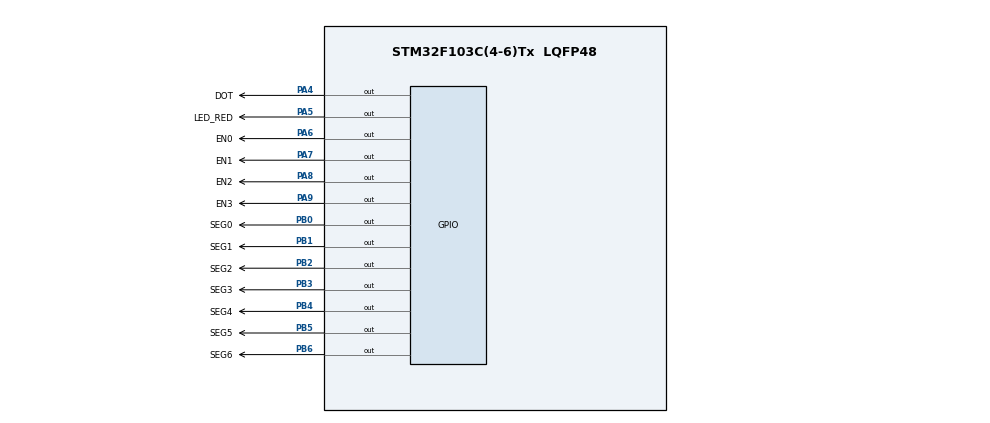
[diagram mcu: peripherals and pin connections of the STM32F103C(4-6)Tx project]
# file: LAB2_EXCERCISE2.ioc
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Mcu.Family=STM32F1
Mcu.Name=STM32F103C(4-6)Tx
Mcu.Package=LQFP48
NVIC.PriorityGroup=NVIC_PRIORITYGROUP_4
NVIC.TIM2_IRQn=true\:0\:0\:false\:false\:true\:true\:true
PA4.GPIO_Label=DOT
PA4.Signal=GPIO_Output
PA5.GPIO_Label=LED_RED
PA5.Signal=GPIO_Output
PA6.GPIO_Label=EN0
PA6.Signal=GPIO_Output
PA7.GPIO_Label=EN1
PA7.Signal=GPIO_Output
PA8.GPIO_Label=EN2
PA8.Signal=GPIO_Output
PA9.GPIO_Label=EN3
PA9.Signal=GPIO_Output
PB0.GPIO_Label=SEG0
PB0.Signal=GPIO_Output
PB1.GPIO_Label=SEG1
PB1.Signal=GPIO_Output
PB2.GPIO_Label=SEG2
PB2.Signal=GPIO_Output
PB3.GPIO_Label=SEG3
PB3.Signal=GPIO_Output
PB4.GPIO_Label=SEG4
PB4.Signal=GPIO_Output
PB5.GPIO_Label=SEG5
PB5.Signal=GPIO_Output
PB6.GPIO_Label=SEG6
PB6.Signal=GPIO_Output
ProjectManager.HeapSize=0x200
ProjectManager.StackSize=0x400
ProjectManager.TargetToolchain=STM32CubeIDE
RCC.APB1Freq_Value=8000000
RCC.APB2Freq_Value=8000000
TIM2.Period=9
TIM2.Prescaler=7999
VP_SYS_VS_ND.Mode=No_Debug
VP_TIM2_VS_ClockSourceINT.Mode=Internal
board=custom

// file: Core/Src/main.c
/* USER CODE BEGIN Header */
/**
  ******************************************************************************
  * @file           : main.c
  * @brief          : Main program body
  ******************************************************************************
  * @attention
  *
  * <h2><center>&copy; Copyright (c) 2025 STMicroelectronics.
  * All rights reserved.</center></h2>
  *
  * This software component is licensed by ST under BSD 3-Clause license,
  * the "License"; You may not use this file except in compliance with the
  * License. You may obtain a copy of the License at:
  *                        opensource.org/licenses/BSD-3-Clause
  *
  ******************************************************************************
  */
/* USER CODE END Header */
#include "main.h"

TIM_HandleTypeDef htim2;

void SystemClock_Config(void);
static void MX_GPIO_Init(void);
static void MX_TIM2_Init(void);

/* USER CODE BEGIN 0 */
void display7SEG(int num){
	char led7segm[10]={0xC0, 0xF9, 0xA4, 0xB0, 0x99, 0x92, 0x82, 0xF8, 0x80, 0x90};
	for(int i=0;i<7;i++){
		HAL_GPIO_WritePin(GPIOB, SEG0_Pin<<i,(led7segm[num]>>i)&1);
	}
}
/* USER CODE END 0 */

int main(void)
{

  /* MCU Configuration--------------------------------------------------------*/

  /* Reset of all peripherals, Initializes the Flash interface and the Systick. */
  HAL_Init();

  /* Configure the system clock */
  SystemClock_Config();

  /* Initialize all configured peripherals */
  MX_GPIO_Init();
  MX_TIM2_Init();
  /* USER CODE BEGIN 2 */
  HAL_TIM_Base_Start_IT(&htim2);
  /* USER CODE END 2 */

  /* Infinite loop */
  while (1)
  {

  }
}

void SystemClock_Config(void)
{
  RCC_OscInitTypeDef RCC_OscInitStruct = {0};
  RCC_ClkInitTypeDef RCC_ClkInitStruct = {0};

  /** Initializes the RCC Oscillators according to the specified parameters
  * in the RCC_OscInitTypeDef structure.
  */
  RCC_OscInitStruct.OscillatorType = RCC_OSCILLATORTYPE_HSI;
  RCC_OscInitStruct.HSIState = RCC_HSI_ON;
  RCC_OscInitStruct.HSICalibrationValue = RCC_HSICALIBRATION_DEFAULT;
  RCC_OscInitStruct.PLL.PLLState = RCC_PLL_NONE;
  if (HAL_RCC_OscConfig(&RCC_OscInitStruct) != HAL_OK)
  {
    Error_Handler();
  }
  /** Initializes the CPU, AHB and APB buses clocks
  */
  RCC_ClkInitStruct.ClockType = RCC_CLOCKTYPE_HCLK|RCC_CLOCKTYPE_SYSCLK
                              |RCC_CLOCKTYPE_PCLK1|RCC_CLOCKTYPE_PCLK2;
  RCC_ClkInitStruct.SYSCLKSource = RCC_SYSCLKSOURCE_HSI;
  RCC_ClkInitStruct.AHBCLKDivider = RCC_SYSCLK_DIV1;
  RCC_ClkInitStruct.APB1CLKDivider = RCC_HCLK_DIV1;
  RCC_ClkInitStruct.APB2CLKDivider = RCC_HCLK_DIV1;

  if (HAL_RCC_ClockConfig(&RCC_ClkInitStruct, FLASH_LATENCY_0) != HAL_OK)
  {
    Error_Handler();
  }
}

static void MX_TIM2_Init(void)
{

  TIM_ClockConfigTypeDef sClockSourceConfig = {0};
  TIM_MasterConfigTypeDef sMasterConfig = {0};

  htim2.Instance = TIM2;
  htim2.Init.Prescaler = 7999;
  htim2.Init.CounterMode = TIM_COUNTERMODE_UP;
  htim2.Init.Period = 9;
  htim2.Init.ClockDivision = TIM_CLOCKDIVISION_DIV1;
  htim2.Init.AutoReloadPreload = TIM_AUTORELOAD_PRELOAD_DISABLE;
  if (HAL_TIM_Base_Init(&htim2) != HAL_OK)
  {
    Error_Handler();
  }
  sClockSourceConfig.ClockSource = TIM_CLOCKSOURCE_INTERNAL;
  if (HAL_TIM_ConfigClockSource(&htim2, &sClockSourceConfig) != HAL_OK)
  {
    Error_Handler();
  }
  sMasterConfig.MasterOutputTrigger = TIM_TRGO_RESET;
  sMasterConfig.MasterSlaveMode = TIM_MASTERSLAVEMODE_DISABLE;
  if (HAL_TIMEx_MasterConfigSynchronization(&htim2, &sMasterConfig) != HAL_OK)
  {
    Error_Handler();
  }

}

static void MX_GPIO_Init(void)
{
  GPIO_InitTypeDef GPIO_InitStruct = {0};

  /* GPIO Ports Clock Enable */
  __HAL_RCC_GPIOA_CLK_ENABLE();
  __HAL_RCC_GPIOB_CLK_ENABLE();

  /*Configure GPIO pin Output Level */
  HAL_GPIO_WritePin(GPIOA, DOT_Pin|LED_RED_Pin|EN0_Pin|EN1_Pin
                          |EN2_Pin|EN3_Pin, GPIO_PIN_RESET);

  /*Configure GPIO pin Output Level */
  HAL_GPIO_WritePin(GPIOB, SEG0_Pin|SEG1_Pin|SEG2_Pin|SEG3_Pin
                          |SEG4_Pin|SEG5_Pin|SEG6_Pin, GPIO_PIN_RESET);

  /*Configure GPIO pins : DOT_Pin LED_RED_Pin EN0_Pin EN1_Pin
                           EN2_Pin EN3_Pin */
  GPIO_InitStruct.Pin = DOT_Pin|LED_RED_Pin|EN0_Pin|EN1_Pin
                          |EN2_Pin|EN3_Pin;
  GPIO_InitStruct.Mode = GPIO_MODE_OUTPUT_PP;
  GPIO_InitStruct.Pull = GPIO_NOPULL;
  GPIO_InitStruct.Speed = GPIO_SPEED_FREQ_LOW;
  HAL_GPIO_Init(GPIOA, &GPIO_InitStruct);

  /*Configure GPIO pins : SEG0_Pin SEG1_Pin SEG2_Pin SEG3_Pin
                           SEG4_Pin SEG5_Pin SEG6_Pin */
  GPIO_InitStruct.Pin = SEG0_Pin|SEG1_Pin|SEG2_Pin|SEG3_Pin
                          |SEG4_Pin|SEG5_Pin|SEG6_Pin;
  GPIO_InitStruct.Mode = GPIO_MODE_OUTPUT_PP;
  GPIO_InitStruct.Pull = GPIO_NOPULL;
  GPIO_InitStruct.Speed = GPIO_SPEED_FREQ_LOW;
  HAL_GPIO_Init(GPIOB, &GPIO_InitStruct);

}

/* USER CODE BEGIN 4 */
const unsigned int Default = 200;
int counter = Default;
int dot_counter = 0;
void HAL_TIM_PeriodElapsedCallback ( TIM_HandleTypeDef * htim )
{
	if (counter == Default){
		display7SEG(1);
		HAL_GPIO_WritePin(EN0_GPIO_Port, EN0_Pin, RESET);
		HAL_GPIO_WritePin(EN1_GPIO_Port, EN1_Pin, SET);
		HAL_GPIO_WritePin(EN2_GPIO_Port, EN2_Pin, SET);
		HAL_GPIO_WritePin(EN3_GPIO_Port, EN3_Pin, SET);
		HAL_GPIO_WritePin(DOT_GPIO_Port,DOT_Pin, RESET);
		HAL_GPIO_TogglePin(GPIOA, LED_RED_Pin);
	}else if (counter == (Default*3/4)){
		display7SEG(2);
		HAL_GPIO_WritePin(EN0_GPIO_Port, EN0_Pin, SET);
		HAL_GPIO_WritePin(EN1_GPIO_Port, EN1_Pin, RESET);
		HAL_GPIO_WritePin(EN2_GPIO_Port, EN2_Pin, SET);
		HAL_GPIO_WritePin(EN3_GPIO_Port, EN3_Pin, SET);
		HAL_GPIO_WritePin(DOT_GPIO_Port,DOT_Pin, SET);
		HAL_GPIO_TogglePin(GPIOA, LED_RED_Pin);
	}else if (counter == (Default*2/4)){
		display7SEG(3);
		HAL_GPIO_WritePin(EN0_GPIO_Port, EN0_Pin, SET);
		HAL_GPIO_WritePin(EN1_GPIO_Port, EN1_Pin, SET);
		HAL_GPIO_WritePin(EN2_GPIO_Port, EN2_Pin, RESET);
		HAL_GPIO_WritePin(EN3_GPIO_Port, EN3_Pin, SET);
		HAL_GPIO_WritePin(DOT_GPIO_Port,DOT_Pin, RESET);
		HAL_GPIO_TogglePin(GPIOA, LED_RED_Pin);
	}else if (counter == (Default*1/4)){
		display7SEG(0);
		HAL_GPIO_WritePin(EN2_GPIO_Port, EN2_Pin, SET);
		HAL_GPIO_WritePin(EN3_GPIO_Port, EN3_Pin, RESET);
		HAL_GPIO_WritePin(DOT_GPIO_Port,DOT_Pin, SET);
		HAL_GPIO_TogglePin(GPIOA, LED_RED_Pin);
	}
	//giảm counter
	counter = (counter > 0) ? counter-1 : Default;
	if (dot_counter >= Default) {
		        dot_counter = 0;
		        HAL_GPIO_TogglePin(DOT_GPIO_Port, DOT_Pin);
		    }
		    dot_counter++;
}
/* USER CODE END 4 */

void Error_Handler(void)
{
  __disable_irq();
  while (1)
  {
  }
}

/************************ (C) COPYRIGHT STMicroelectronics *****END OF FILE****/
